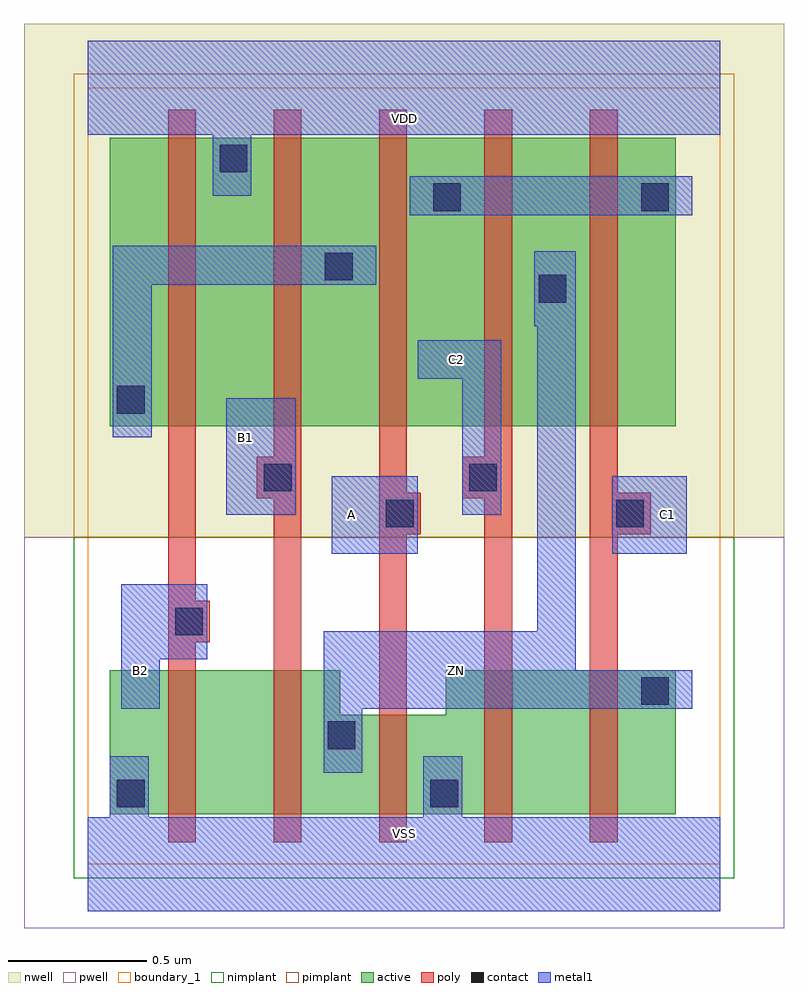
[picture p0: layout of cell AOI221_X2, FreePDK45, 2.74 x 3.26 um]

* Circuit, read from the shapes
.subckt AOI221_X2 A B1 B2 C1 C2 VDD VSS ZN
M1 n1 B2 VSS VSUBS nfet w=0.52u l=0.1u
M2 ZN B1 n1 VSUBS nfet w=0.52u l=0.1u
M3 VSS A ZN VSUBS nfet w=0.36u l=0.1u
M4 n2 C2 VSS VSUBS nfet w=0.52u l=0.1u
M5 ZN C1 n2 VSUBS nfet w=0.52u l=0.1u
M6 VDD B2 n3 n4 pfet w=1.04u l=0.1u
M7 n3 B1 VDD n4 pfet w=1.04u l=0.1u
M8 n5 A n3 n4 pfet w=1.04u l=0.1u
M9 ZN C2 n5 n4 pfet w=1.04u l=0.1u
M10 n5 C1 ZN n4 pfet w=1.04u l=0.1u
.ends

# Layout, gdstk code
import gdstk
lib = gdstk.Library(unit=1e-6, precision=1e-09)
def R(c, l, rs):  # rectangles x0, y0, x1, y1
    for r in rs: c.add(gdstk.rectangle(r[:2], r[2:], *l))
def P(c, l, *ps):  # polygons
    for p in ps: c.add(gdstk.Polygon(p, *l))
active = (1, 0)
pwell = (2, 0)
nwell = (3, 0)
nimplant = (4, 0)
pimplant = (5, 0)
poly = (9, 0)
contact = (10, 0)
metal1 = (11, 0)
boundary_1 = (235, 1)

aoi221_x2 = lib.new_cell('AOI221_X2')
R(aoi221_x2, active, [(0.08,1.58,2.12,2.62)])
P(aoi221_x2, active, [(0.08,0.18),(2.12,0.18),(2.12,0.7),(1.29,0.7),(1.29,0.54),(0.91,0.54),(0.91,0.7),(0.08,0.7)])
R(aoi221_x2, pwell, [(-0.23,-0.23,2.51,1.18)])
R(aoi221_x2, nwell, [(-0.23,1.18,2.51,3.03)])
R(aoi221_x2, nimplant, [(-0.05,-0.05,2.33,1.18)])
R(aoi221_x2, pimplant, [(-0.05,1.18,2.33,2.85)])
P(aoi221_x2, poly, [(1.81,0.08),(1.91,0.08),(1.91,1.19),(2.03,1.19),(2.03,1.34),(1.91,1.34),(1.91,2.72),(1.81,2.72)],
  [(1.35,1.32),(1.43,1.32),(1.43,0.08),(1.53,0.08),(1.53,2.72),(1.43,2.72),(1.43,1.47),(1.35,1.47)],
  [(1.05,0.08),(1.15,0.08),(1.15,1.19),(1.2,1.19),(1.2,1.34),(1.15,1.34),(1.15,2.72),(1.05,2.72)],
  [(0.61,1.32),(0.67,1.32),(0.67,0.08),(0.77,0.08),(0.77,2.72),(0.67,2.72),(0.67,1.47),(0.61,1.47)],
  [(0.29,0.08),(0.39,0.08),(0.39,0.8),(0.44,0.8),(0.44,0.95),(0.39,0.95),(0.39,2.72),(0.29,2.72)])
R(aoi221_x2, contact, [(0.105,0.205,0.205,0.305), (1.235,0.205,1.335,0.305), (0.865,0.415,0.965,0.515), (1.995,0.575,2.095,0.675), (0.315,0.825,0.415,0.925), (1.075,1.215,1.175,1.315), (1.905,1.215,2.005,1.315), (0.635,1.345,0.735,1.445), (1.375,1.345,1.475,1.445), (0.105,1.625,0.205,1.725), (1.625,2.025,1.725,2.125), (0.855,2.105,0.955,2.205), (1.245,2.355,1.345,2.455), (1.995,2.355,2.095,2.455), (0.475,2.495,0.575,2.595)])
R(aoi221_x2, metal1, [(0.88,1.12,1.19,1.4), (0.88,1.12,1.19,1.4), (1.89,1.12,2.16,1.4), (1.89,1.12,2.16,1.4), (0.5,1.26,0.75,1.68), (0.5,1.26,0.75,1.68), (1.16,2.34,2.18,2.48)])
P(aoi221_x2, metal1, [(1.19,1.75),(1.35,1.75),(1.35,1.26),(1.49,1.26),(1.49,1.89),(1.19,1.89)],
  [(0.12,0.56),(0.26,0.56),(0.26,0.74),(0.43,0.74),(0.43,1.01),(0.12,1.01)],
  [(0,-0.17),(2.28,-0.17),(2.28,0.17),(1.35,0.17),(1.35,0.39),(1.21,0.39),(1.21,0.17),(0.22,0.17),(0.22,0.39),(0.08,0.39),(0.08,0.17),(0,0.17)],
  [(1.61,1.94),(1.62,1.94),(1.62,0.84),(0.85,0.84),(0.85,0.33),(0.99,0.33),(0.99,0.56),(2.18,0.56),(2.18,0.7),(1.76,0.7),(1.76,2.21),(1.61,2.21)],
  [(0,2.63),(0.45,2.63),(0.45,2.41),(0.59,2.41),(0.59,2.63),(2.28,2.63),(2.28,2.97),(0,2.97)],
  [(0,2.63),(0.45,2.63),(0.45,2.41),(0.59,2.41),(0.59,2.63),(2.28,2.63),(2.28,2.97),(0,2.97)],
  [(0,-0.17),(2.28,-0.17),(2.28,0.17),(1.35,0.17),(1.35,0.39),(1.21,0.39),(1.21,0.17),(0.22,0.17),(0.22,0.39),(0.08,0.39),(0.08,0.17),(0,0.17)],
  [(1.61,1.94),(1.62,1.94),(1.62,0.84),(0.85,0.84),(0.85,0.33),(0.99,0.33),(0.99,0.56),(2.18,0.56),(2.18,0.7),(1.76,0.7),(1.76,2.21),(1.61,2.21)],
  [(1.19,1.75),(1.35,1.75),(1.35,1.26),(1.49,1.26),(1.49,1.89),(1.19,1.89)],
  [(0.09,1.54),(0.23,1.54),(0.23,2.09),(1.04,2.09),(1.04,2.23),(0.09,2.23)],
  [(0.12,0.56),(0.26,0.56),(0.26,0.74),(0.43,0.74),(0.43,1.01),(0.12,1.01)])
R(aoi221_x2, boundary_1, [(0,0,2.28,2.8)])
aoi221_x2.add(gdstk.Label('ZN', (1.33,0.7), layer=11, texttype=0))
aoi221_x2.add(gdstk.Label('VSS', (1.14,0.11), layer=11, texttype=0))
aoi221_x2.add(gdstk.Label('VDD', (1.14,2.69), layer=11, texttype=0))
aoi221_x2.add(gdstk.Label('C2', (1.33,1.82), layer=11, texttype=0))
aoi221_x2.add(gdstk.Label('C1', (2.09,1.26), layer=11, texttype=0))
aoi221_x2.add(gdstk.Label('B2', (0.19,0.7), layer=11, texttype=0))
aoi221_x2.add(gdstk.Label('B1', (0.57,1.54), layer=11, texttype=0))
aoi221_x2.add(gdstk.Label('A', (0.95,1.26), layer=11, texttype=0))

lib.write_gds('AOI221_X2.gds')
